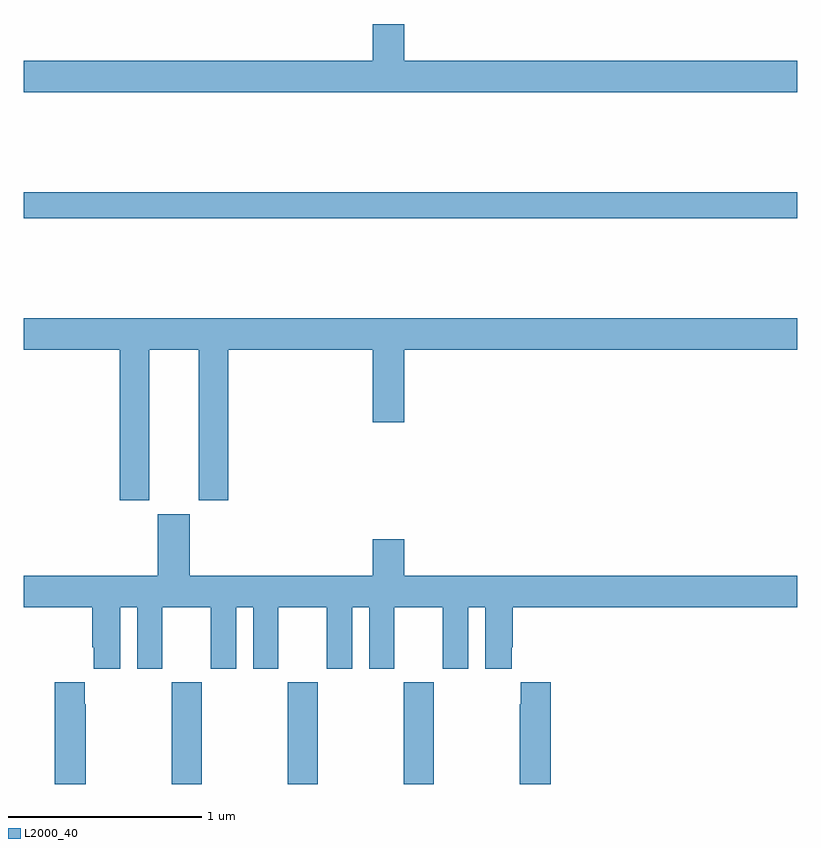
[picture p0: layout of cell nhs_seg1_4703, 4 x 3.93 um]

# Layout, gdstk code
import gdstk
lib = gdstk.Library(unit=1e-6, precision=1e-09)
def R(c, l, rs):  # rectangles x0, y0, x1, y1
    for r in rs: c.add(gdstk.rectangle(r[:2], r[2:], *l))
def A(c, l, x, y, w, h, nx, ny, dx, dy):  # array of equal rectangles
    R(c, l, [(x+i*dx, y+j*dy, x+i*dx+w, y+j*dy+h) for i in range(nx) for j in range(ny)])
def P(c, l, *ps):  # polygons
    for p in ps: c.add(gdstk.Polygon(p, *l))
L2000_40 = (2000, 40)

nhs_seg1_4703 = lib.new_cell('nhs_seg1_4703')
A(nhs_seg1_4703, L2000_40, 367.765, 504.199, 0.155, 0.525, 3, 1, 0.6, 0)
R(nhs_seg1_4703, L2000_40, [(367,507.124,371,507.26)])
P(nhs_seg1_4703, L2000_40, [(368.804,508.129),(368.804,507.94),(367,507.94),(367,507.776),(371,507.776),(371,507.94),(368.968,507.94),(368.968,508.129)],
  [(367.648,506.444),(367.904,506.444),(367.904,505.665),(368.057,505.665),(368.057,506.444),(368.804,506.444),(368.804,506.07),(368.968,506.07),(368.968,506.444),(371,506.444),(371,506.608),(367,506.608),(367,506.444),(367.496,506.444),(367.496,505.665),(367.648,505.665)],
  [(367.498,505.112),(367.586,505.112),(367.586,504.795),(367.717,504.795),(367.717,505.112),(367.967,505.112),(367.967,504.795),(368.098,504.795),(368.098,505.112),(368.186,505.112),(368.186,504.795),(368.317,504.795),(368.317,505.112),(368.567,505.112),(368.567,504.795),(368.698,504.795),(368.698,505.112),(368.786,505.112),(368.786,504.795),(368.917,504.795),(368.917,505.112),(369.167,505.112),(369.167,504.795),(369.298,504.795),(369.298,505.112),(369.386,505.112),(369.386,504.795),(369.523,504.795),(369.523,504.907),(369.53,504.907),(369.53,505.112),(371,505.112),(371,505.276),(368.968,505.276),(368.968,505.465),(368.804,505.465),(368.804,505.276),(367.858,505.276),(367.858,505.593),(367.694,505.593),(367.694,505.276),(367,505.276),(367,505.112),(367.355,505.112),(367.355,504.907),(367.361,504.907),(367.361,504.795),(367.498,504.795)],
  [(369.725,504.724),(369.569,504.724),(369.569,504.611),(369.565,504.611),(369.565,504.199),(369.725,504.199)],
  [(367.32,504.611),(367.315,504.611),(367.315,504.724),(367.16,504.724),(367.16,504.199),(367.32,504.199)])

lib.write_gds('nhs_seg1_4703.gds')
